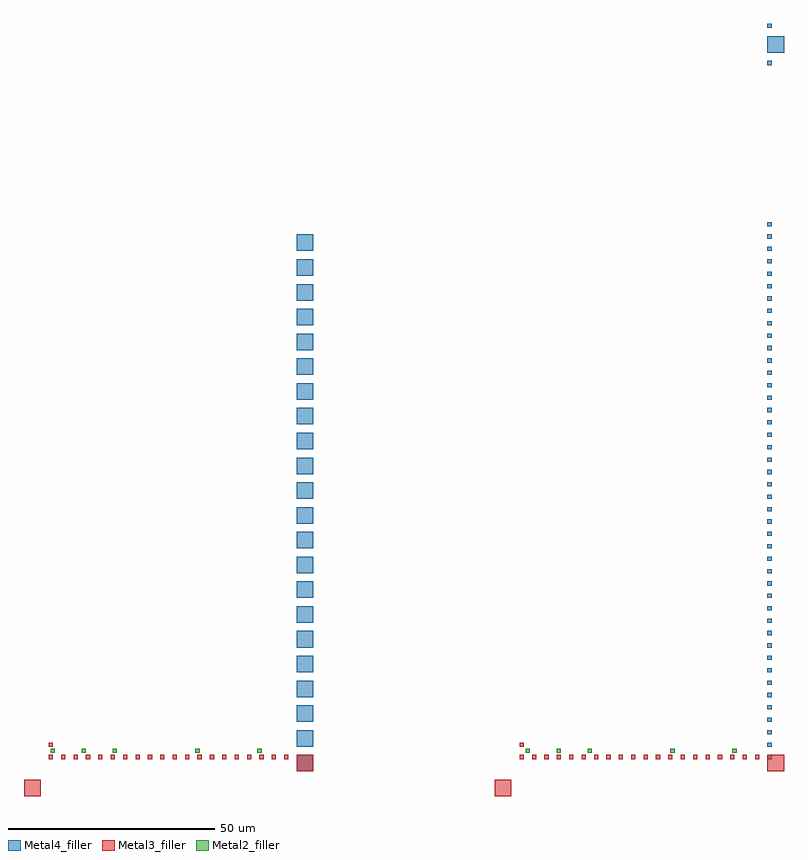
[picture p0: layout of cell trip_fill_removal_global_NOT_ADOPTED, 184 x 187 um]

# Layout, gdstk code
import gdstk
lib = gdstk.Library(unit=1e-6, precision=1e-09)
def R(c, l, rs):  # rectangles x0, y0, x1, y1
    for r in rs: c.add(gdstk.rectangle(r[:2], r[2:], *l))
def A(c, l, x, y, w, h, nx, ny, dx, dy):  # array of equal rectangles
    R(c, l, [(x+i*dx, y+j*dy, x+i*dx+w, y+j*dy+h) for i in range(nx) for j in range(ny)])
Metal2_filler = (10, 22)
Metal3_filler = (30, 22)
Metal4_filler = (50, 22)

trip_fill_removal_global = lib.new_cell('trip_fill_removal_global_NOT_ADOPTED')
A(trip_fill_removal_global, Metal2_filler, 783.5, 758.5, 1, 1, 3, 1, 7.5, 0)
A(trip_fill_removal_global, Metal2_filler, 898.5, 758.5, 1, 1, 3, 1, 7.5, 0)
R(trip_fill_removal_global, Metal2_filler, [(818.5,758.5,819.5,759.5), (833.5,758.5,834.5,759.5), (933.5,758.5,934.5,759.5), (948.5,758.5,949.5,759.5)])
A(trip_fill_removal_global, Metal3_filler, 783, 757, 1, 1, 20, 1, 3, 0)
A(trip_fill_removal_global, Metal3_filler, 897, 757, 1, 1, 20, 1, 3, 0)
R(trip_fill_removal_global, Metal3_filler, [(777,748,781,752), (891,748,895,752), (843,754,847,758), (957,754,961,758), (783,760,784,761), (897,760,898,761)])
A(trip_fill_removal_global, Metal4_filler, 843, 754, 4, 4, 1, 22, 0, 6)
A(trip_fill_removal_global, Metal4_filler, 957, 757, 1, 1, 1, 44, 0, 3)
R(trip_fill_removal_global, Metal4_filler, [(957,925,958,926), (957,928,961,932), (957,934,958,935)])

lib.write_gds('trip_fill_removal_global_NOT_ADOPTED.gds')
